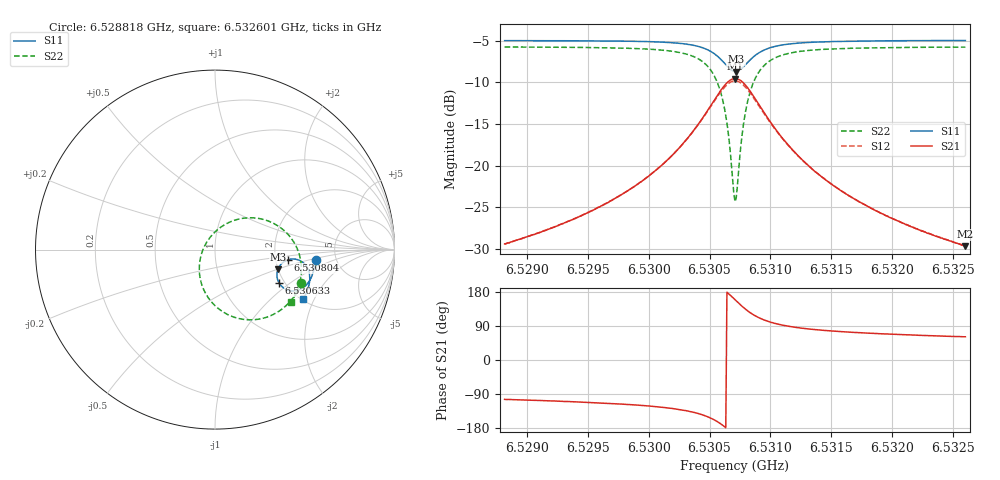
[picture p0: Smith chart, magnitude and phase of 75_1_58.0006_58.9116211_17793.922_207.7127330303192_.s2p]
#  HZ  S  RI  R  50.00
! Rohde & Schwarz Vector Network Analyzer
! Rohde-Schwarz,ZNB20-2Port,1311601062101988,3.16
! Created: UTC 3/21/2024, 12:53:39 AM
! freq[Hz]  re:S11  im:S11  re:S21  im:S21  re:S12  im:S12  re:S22  im:S22
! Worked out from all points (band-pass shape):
!   401 points, 6.528818 GHz to 6.532601 GHz, reference 50 ohm
!   highest |S21| = -9.53 dB at 6.530709 GHz (marker M1); lowest = -29.7 dB at 6.532601 GHz (marker M2)
!   |S21| within 3 dB of the highest: 6.530521 GHz to 6.5309 GHz (378.5 kHz wide, 0.00579 % of centre)
!   lowest |S11| = -8.7 dB at 6.530719 GHz (marker M3), VSWR 2.16, Z = 99.8 - j25.2 ohm
!   |S11| at or under -10 dB: nowhere
!   |S22| runs from -24.3 to -5.7 dB; largest |S21 - S12| = 0.014
!   S11 on the Smith chart (normalised r, x): 6.528818 GHz: 3.48, -0.58; 6.530633 GHz: 1.87, -0.84; 6.530804 GHz: 2.34, -0.32; 6.532601 GHz: 2.03, -1.66
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6.5288177e9  0.5607 -0.0569  -0.00815 -0.0329  -0.00883 -0.0327  0.4813 -0.1868
6.5294513e9  0.5514 -0.1114  -0.018 -0.0469  -0.0193 -0.0466  0.4488 -0.2489
6.5297823e9  0.5413 -0.1436  -0.03 -0.0603  -0.0316 -0.0596  0.4174 -0.2902
6.5300849e9  0.5237 -0.1786  -0.0542 -0.0809  -0.0567 -0.0792  0.3623 -0.3394
6.5303119e9  0.4941 -0.2105  -0.0999 -0.1034  -0.1032 -0.0998  0.2698 -0.382
6.5304727e9  0.4456 -0.2298  -0.1773 -0.1095  -0.1798 -0.1017  0.1283 -0.383
6.5305673e9  0.3956 -0.2213  -0.2553 -0.0766  -0.2537 -0.0654  -0.000498 -0.312
6.5306051e9  0.3732 -0.2058  -0.2886 -0.0431  -0.2838 -0.0313  -0.0501 -0.2483
6.5306335e9  0.3583 -0.1877  -0.3091 -0.0073  -0.3015 0.00377  -0.077 -0.1844
6.5306618e9  0.3481 -0.1642  -0.321 0.0369  -0.3107 0.0462  -0.0875 -0.1089
6.5306902e9  0.3452 -0.1369  -0.3205 0.086  -0.3082 0.0922  -0.0767 -0.0287
6.5307091e9  0.348 -0.1183  -0.3121 0.1188  -0.2993 0.1226  -0.0563 0.0231
6.5307186e9  0.3509 -0.1093  -0.3052 0.1342  -0.2924 0.1371  -0.0425 0.0474
6.5307753e9  0.3844 -0.0673  -0.24 0.2053  -0.2299 0.2028  0.0779 0.1514
6.5308037e9  0.4063 -0.0565  -0.2003 0.2229  -0.1924 0.219  0.1466 0.173
6.5308699e9  0.4533 -0.0544  -0.1183 0.2266  -0.1144 0.2228  0.2843 0.1636
6.5309645e9  0.4952 -0.0761  -0.0473 0.194  -0.0456 0.1919  0.3995 0.0923
6.5311063e9  0.5204 -0.1129  -0.00385 0.1439  -0.00259 0.1432  0.4638 -0.00923
6.5313428e9  0.5284 -0.1573  0.015 0.0945  0.0161 0.094  0.4815 -0.1128
6.531636e9  0.524 -0.1946  0.0185 0.0639  0.0195 0.0637  0.4727 -0.1832
6.5319764e9  0.5144 -0.2278  0.0181 0.0455  0.019 0.0454  0.4558 -0.2335
6.5326006e9  0.4923 -0.2775  0.0158 0.0288  0.0165 0.0287  0.4236 -0.2939
